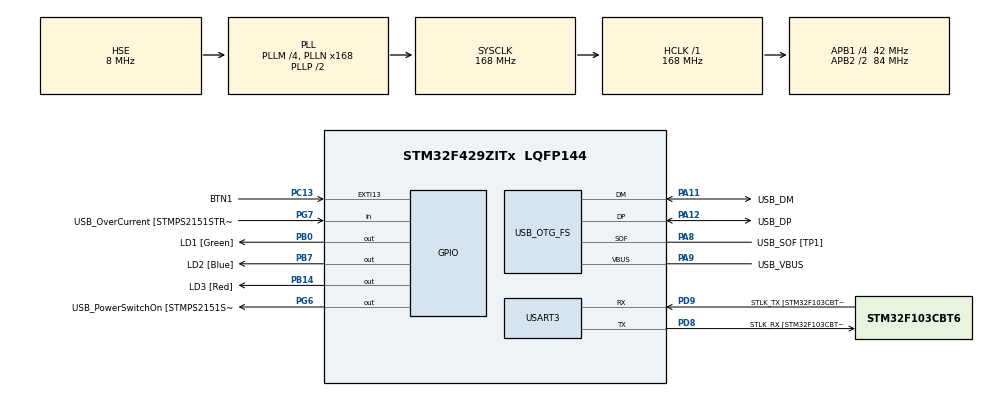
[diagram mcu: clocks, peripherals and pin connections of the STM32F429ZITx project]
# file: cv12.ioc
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Mcu.Family=STM32F4
Mcu.Name=STM32F429ZITx
Mcu.Package=LQFP144
NVIC.OTG_FS_IRQn=true\:0\:0\:false\:false\:true\:false\:true\:true
NVIC.PriorityGroup=NVIC_PRIORITYGROUP_4
PA1.GPIO_Label=RMII_REF_CLK [LAN8742A-CZ-TR_REFCLK0]
PA1.Signal=ETH_REF_CLK
PA10.GPIO_Label=USB_ID
PA10.Signal=USB_OTG_FS_ID
PA11.GPIO_Label=USB_DM
PA11.Mode=Device_Only
PA11.Signal=USB_OTG_FS_DM
PA12.GPIO_Label=USB_DP
PA12.Mode=Device_Only
PA12.Signal=USB_OTG_FS_DP
PA13.GPIO_Label=TMS
PA13.Mode=Serial_Wire
PA13.Signal=SYS_JTMS-SWDIO
PA14.GPIO_Label=TCK
PA14.Mode=Serial_Wire
PA14.Signal=SYS_JTCK-SWCLK
PA2.GPIO_Label=RMII_MDIO [LAN8742A-CZ-TR_MDIO]
PA2.Signal=ETH_MDIO
PA7.GPIO_Label=RMII_CRS_DV [LAN8742A-CZ-TR_CRS_DV]
PA7.Signal=ETH_CRS_DV
PA8.GPIO_Label=USB_SOF [TP1]
PA8.Mode=Activate_SOF_FS
PA8.Signal=USB_OTG_FS_SOF
PA9.GPIO_Label=USB_VBUS
PA9.Mode=Activate_VBUS
PA9.Signal=USB_OTG_FS_VBUS
PB0.GPIO_Label=LD1 [Green]
PB0.Signal=GPIO_Output
PB13.GPIO_Label=RMII_TXD1 [LAN8742A-CZ-TR_TXD1]
PB13.Signal=ETH_TXD1
PB14.GPIO_Label=LD3 [Red]
PB14.Signal=GPIO_Output
PB7.GPIO_Label=LD2 [Blue]
PB7.Signal=GPIO_Output
PC1.GPIO_Label=RMII_MDC [LAN8742A-CZ-TR_MDC]
PC1.Signal=ETH_MDC
PC13.GPIO_Label=BTN1
PC13.Signal=GPXTI13
PC14/OSC32_IN.Mode=LSE-External-Oscillator
PC14/OSC32_IN.Signal=RCC_OSC32_IN
PC15/OSC32_OUT.Mode=LSE-External-Oscillator
PC15/OSC32_OUT.Signal=RCC_OSC32_OUT
PC4.GPIO_Label=RMII_RXD0 [LAN8742A-CZ-TR_RXD0]
PC4.Signal=ETH_RXD0
PC5.GPIO_Label=RMII_RXD1 [LAN8742A-CZ-TR_RXD1]
PC5.Signal=ETH_RXD1
PD8.GPIO_Label=STLK_RX [STM32F103CBT6_PA3]
PD8.Mode=Asynchronous
PD8.Signal=USART3_TX
PD9.GPIO_Label=STLK_TX [STM32F103CBT6_PA2]
PD9.Mode=Asynchronous
PD9.Signal=USART3_RX
PG11.GPIO_Label=RMII_TX_EN [LAN8742A-CZ-TR_TXEN]
PG11.Signal=ETH_TX_EN
PG13.GPIO_Label=RMII_TXD0 [LAN8742A-CZ-TR_TXD0]
PG13.Signal=ETH_TXD0
PG6.GPIO_Label=USB_PowerSwitchOn [STMPS2151STR_EN]
PG6.Signal=GPIO_Output
PG7.GPIO_Label=USB_OverCurrent [STMPS2151STR_FAULT]
PG7.Signal=GPIO_Input
PH0/OSC_IN.GPIO_Label=MCO [STM32F103CBT6_PA8]
PH0/OSC_IN.Mode=HSE-External-Clock-Source
PH0/OSC_IN.Signal=RCC_OSC_IN
PH1/OSC_OUT.Mode=HSE-External-Clock-Source
PH1/OSC_OUT.Signal=RCC_OSC_OUT
ProjectManager.HeapSize=0x200
ProjectManager.StackSize=0x400
ProjectManager.TargetToolchain=STM32CubeIDE
RCC.48MHZClocksFreq_Value=48000000
RCC.AHBFreq_Value=168000000
RCC.APB1CLKDivider=RCC_HCLK_DIV4
RCC.APB1Freq_Value=42000000
RCC.APB1TimFreq_Value=84000000
RCC.APB2CLKDivider=RCC_HCLK_DIV2
RCC.APB2Freq_Value=84000000
RCC.APB2TimCLKDivider=2
RCC.APB2TimFreq_Value=168000000
RCC.CortexFreq_Value=168000000
RCC.HCLKFreq_Value=168000000
RCC.HSE_VALUE=8000000
RCC.HSI_VALUE=16000000
RCC.PLLM=4
RCC.PLLMUL=RCC_PLL_MUL9
RCC.PLLN=168
RCC.PLLQ=7
RCC.PRESCALERUSB=RCC_USBCLKSOURCE_PLL_DIV1_5
RCC.SYSCLKFreq_VALUE=168000000
RCC.SYSCLKSource=RCC_SYSCLKSOURCE_PLLCLK
RCC.SYSCLKSourceVirtual=RCC_SYSCLKSOURCE_PLLCLK
RCC.USBFreq_Value=48000000
RCC.VCOOutputFreq_Value=336000000
USART3.VirtualMode=VM_ASYNC
USB_DEVICE.CLASS_NAME_FS=HID
USB_DEVICE.VirtualMode-HID_FS=Hid
USB_DEVICE.VirtualModeFS=Hid_FS
USB_OTG_FS.VirtualMode=Device_Only
VP_USB_DEVICE_VS_USB_DEVICE_HID_FS.Mode=HID_FS
board=NUCLEO-F429ZI

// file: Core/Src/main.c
/* USER CODE BEGIN Header */
/**
  ******************************************************************************
  * @file           : main.c
  * @brief          : Main program body
  ******************************************************************************
  * @attention
  *
  * Copyright (c) 2024 STMicroelectronics.
  * All rights reserved.
  *
  * This software is licensed under terms that can be found in the LICENSE file
  * in the root directory of this software component.
  * If no LICENSE file comes with this software, it is provided AS-IS.
  *
  ******************************************************************************
  */
/* USER CODE END Header */
#include "main.h"
#include "usb_device.h"

/* USER CODE BEGIN Includes */
#include "usbd_hid.h"
#include <math.h>
/* USER CODE END Includes */

UART_HandleTypeDef huart3;

/* USER CODE BEGIN PV */
extern USBD_HandleTypeDef hUsbDeviceFS;

/* USER CODE END PV */

void SystemClock_Config(void);
static void MX_GPIO_Init(void);
static void MX_USART3_UART_Init(void);

/* USER CODE BEGIN 0 */
void step(int x, int y, uint8_t btn) //stejne jako boolean
{
	uint8_t buff[4];
	buff[0] = 0x02; //| btn; // stiskni leve tlacitko
	buff[1] = btn;
	buff[2] = (int8_t)(x); // posun X +10
	buff[3] = (int8_t)(y); // posun Y -3
	buff[4] = 0; // bez scrollu
	USBD_HID_SendReport(&hUsbDeviceFS, buff, sizeof(buff));
	HAL_Delay(2*USBD_HID_GetPollingInterval(&hUsbDeviceFS));
	//HAL_Delay(USBD_HID_GetPollingInterval(&hUsbDeviceFS));
}
void keyboard_press(uint8_t a, uint8_t b, uint8_t c)
{
	uint8_t buff[9];
	buff[0] =0x01; //keyboard
	buff[1]=0x00;	//control keys
	buff[2]=0x00; //padding
	buff[3]=0x0a;
	buff[4]=0x0b;
	buff[5]=0x0c;
	buff[6]=0;
	buff[7]=0;
	buff[8]=0;
	buff[9]=0;
	USBD_HID_SendReport(&hUsbDeviceFS, buff, sizeof(buff));
	HAL_Delay(10*USBD_HID_GetPollingInterval(&hUsbDeviceFS));
}

/*void draw_circle(float radius, int px, int py)
{
	int xx=px;
	int yy=py;

	float x=0;
	float y=0;

	for(int i=0; i<360;i++)
	{
		x=radius*cos(i*(M_PI/180));
		y=radius*sin(i*(M_PI/180));

		xx=xx-round(x);
		yy=yy-round(y);

		step(x, y, 0x01);
	}
	step(0,0,0);
}*/
void draw_circle(float radius, int px, int py)
{
    float x, y;

    for(int i = 0; i < 360; i++)
    {
        // Convert angle to radians
        float angle = i * (M_PI / 180); // i degrees converted to radians

        // Calculate x and y using the radius and angle
        x = radius * cos(angle);
        y = radius * sin(angle);

        // Call the drawing function with the correct circle points
        step(px + round(x), py + round(y), 0x01);
    }

    // Optional: to mark the center of the circle, use:
    //step(px, py, 0);
    step(0,0,0);
}
void draw_specCircle(float radius, int px, int py, int startAngle, int stopAngle)
{
    float x, y;

    for(int i = startAngle; i < stopAngle; i++)
    {
        // Convert angle to radians
        float angle = i * (M_PI / 180); // i degrees converted to radians

        // Calculate x and y using the radius and angle
        x = radius * cos(angle);
        y = radius * sin(angle);

        // Call the drawing function with the correct circle points
        step(px + round(x), py + round(y), 0x01);
    }

    // Optional: to mark the center of the circle, use:
    //step(px, py, 0);
    step(0,0,0);
}
void draw_line_vert(int len, int px, int py)
{
	int x = px;
	int y = py;

	for(int i=0; i<=len;i++)
	{
		step(x,y,1);
		y++;
	}
	step(0,0,0);
}
void draw_line(int px, int py)
{
	step(px,py,1);
}
void move(int px, int py)
{
	step(px,py,0);
}
/* USER CODE END 0 */

int main(void)
{

  /* MCU Configuration--------------------------------------------------------*/

  /* Reset of all peripherals, Initializes the Flash interface and the Systick. */
  HAL_Init();

  /* Configure the system clock */
  SystemClock_Config();

  /* Initialize all configured peripherals */
  MX_GPIO_Init();
  MX_USART3_UART_Init();
  MX_USB_DEVICE_Init();

  /* Infinite loop */
  /* USER CODE BEGIN WHILE */
  while (1)
  {
	  if(HAL_GPIO_ReadPin(BTN1_GPIO_Port, BTN1_Pin))
	  {

		  /*draw_circle(3,0,0);
		  move(0,35);
		 // draw_circle(6,0,0);
		  draw_line_vert(2,0,20);
		  move(-25,-40);
		  draw_circle(1,0,0);
		  move(+75,0);
		  draw_circle(1,0,0);
		  move(15,60); //nedavat ho sem ale do ostatnich funkci
		  draw_specCircle(2,0,0,90,270);//dodleat funkci circlu
		  HAL_Delay(1000);*/
		  keyboard_press(0x13,0x13,0x13);

	  }
	  keyboard_press(0x13,0x13,0x13);
    /* USER CODE END WHILE */

  }
}

void SystemClock_Config(void)
{
  RCC_OscInitTypeDef RCC_OscInitStruct = {0};
  RCC_ClkInitTypeDef RCC_ClkInitStruct = {0};

  /** Configure the main internal regulator output voltage
  */
  __HAL_RCC_PWR_CLK_ENABLE();
  __HAL_PWR_VOLTAGESCALING_CONFIG(PWR_REGULATOR_VOLTAGE_SCALE1);

  /** Initializes the RCC Oscillators according to the specified parameters
  * in the RCC_OscInitTypeDef structure.
  */
  RCC_OscInitStruct.OscillatorType = RCC_OSCILLATORTYPE_HSE;
  RCC_OscInitStruct.HSEState = RCC_HSE_BYPASS;
  RCC_OscInitStruct.PLL.PLLState = RCC_PLL_ON;
  RCC_OscInitStruct.PLL.PLLSource = RCC_PLLSOURCE_HSE;
  RCC_OscInitStruct.PLL.PLLM = 4;
  RCC_OscInitStruct.PLL.PLLN = 168;
  RCC_OscInitStruct.PLL.PLLP = RCC_PLLP_DIV2;
  RCC_OscInitStruct.PLL.PLLQ = 7;
  if (HAL_RCC_OscConfig(&RCC_OscInitStruct) != HAL_OK)
  {
    Error_Handler();
  }

  /** Initializes the CPU, AHB and APB buses clocks
  */
  RCC_ClkInitStruct.ClockType = RCC_CLOCKTYPE_HCLK|RCC_CLOCKTYPE_SYSCLK
                              |RCC_CLOCKTYPE_PCLK1|RCC_CLOCKTYPE_PCLK2;
  RCC_ClkInitStruct.SYSCLKSource = RCC_SYSCLKSOURCE_PLLCLK;
  RCC_ClkInitStruct.AHBCLKDivider = RCC_SYSCLK_DIV1;
  RCC_ClkInitStruct.APB1CLKDivider = RCC_HCLK_DIV4;
  RCC_ClkInitStruct.APB2CLKDivider = RCC_HCLK_DIV2;

  if (HAL_RCC_ClockConfig(&RCC_ClkInitStruct, FLASH_LATENCY_5) != HAL_OK)
  {
    Error_Handler();
  }
}

static void MX_USART3_UART_Init(void)
{

  huart3.Instance = USART3;
  huart3.Init.BaudRate = 115200;
  huart3.Init.WordLength = UART_WORDLENGTH_8B;
  huart3.Init.StopBits = UART_STOPBITS_1;
  huart3.Init.Parity = UART_PARITY_NONE;
  huart3.Init.Mode = UART_MODE_TX_RX;
  huart3.Init.HwFlowCtl = UART_HWCONTROL_NONE;
  huart3.Init.OverSampling = UART_OVERSAMPLING_16;
  if (HAL_UART_Init(&huart3) != HAL_OK)
  {
    Error_Handler();
  }

}

static void MX_GPIO_Init(void)
{
  GPIO_InitTypeDef GPIO_InitStruct = {0};

  /* GPIO Ports Clock Enable */
  __HAL_RCC_GPIOC_CLK_ENABLE();
  __HAL_RCC_GPIOH_CLK_ENABLE();
  __HAL_RCC_GPIOA_CLK_ENABLE();
  __HAL_RCC_GPIOB_CLK_ENABLE();
  __HAL_RCC_GPIOD_CLK_ENABLE();
  __HAL_RCC_GPIOG_CLK_ENABLE();

  /*Configure GPIO pin Output Level */
  HAL_GPIO_WritePin(GPIOB, LD1_Pin|LD3_Pin|LD2_Pin, GPIO_PIN_RESET);

  /*Configure GPIO pin Output Level */
  HAL_GPIO_WritePin(USB_PowerSwitchOn_GPIO_Port, USB_PowerSwitchOn_Pin, GPIO_PIN_RESET);

  /*Configure GPIO pin : BTN1_Pin */
  GPIO_InitStruct.Pin = BTN1_Pin;
  GPIO_InitStruct.Mode = GPIO_MODE_IT_RISING;
  GPIO_InitStruct.Pull = GPIO_NOPULL;
  HAL_GPIO_Init(BTN1_GPIO_Port, &GPIO_InitStruct);

  /*Configure GPIO pins : RMII_MDC_Pin RMII_RXD0_Pin RMII_RXD1_Pin */
  GPIO_InitStruct.Pin = RMII_MDC_Pin|RMII_RXD0_Pin|RMII_RXD1_Pin;
  GPIO_InitStruct.Mode = GPIO_MODE_AF_PP;
  GPIO_InitStruct.Pull = GPIO_NOPULL;
  GPIO_InitStruct.Speed = GPIO_SPEED_FREQ_VERY_HIGH;
  GPIO_InitStruct.Alternate = GPIO_AF11_ETH;
  HAL_GPIO_Init(GPIOC, &GPIO_InitStruct);

  /*Configure GPIO pins : RMII_REF_CLK_Pin RMII_MDIO_Pin RMII_CRS_DV_Pin */
  GPIO_InitStruct.Pin = RMII_REF_CLK_Pin|RMII_MDIO_Pin|RMII_CRS_DV_Pin;
  GPIO_InitStruct.Mode = GPIO_MODE_AF_PP;
  GPIO_InitStruct.Pull = GPIO_NOPULL;
  GPIO_InitStruct.Speed = GPIO_SPEED_FREQ_VERY_HIGH;
  GPIO_InitStruct.Alternate = GPIO_AF11_ETH;
  HAL_GPIO_Init(GPIOA, &GPIO_InitStruct);

  /*Configure GPIO pins : LD1_Pin LD3_Pin LD2_Pin */
  GPIO_InitStruct.Pin = LD1_Pin|LD3_Pin|LD2_Pin;
  GPIO_InitStruct.Mode = GPIO_MODE_OUTPUT_PP;
  GPIO_InitStruct.Pull = GPIO_NOPULL;
  GPIO_InitStruct.Speed = GPIO_SPEED_FREQ_LOW;
  HAL_GPIO_Init(GPIOB, &GPIO_InitStruct);

  /*Configure GPIO pin : RMII_TXD1_Pin */
  GPIO_InitStruct.Pin = RMII_TXD1_Pin;
  GPIO_InitStruct.Mode = GPIO_MODE_AF_PP;
  GPIO_InitStruct.Pull = GPIO_NOPULL;
  GPIO_InitStruct.Speed = GPIO_SPEED_FREQ_VERY_HIGH;
  GPIO_InitStruct.Alternate = GPIO_AF11_ETH;
  HAL_GPIO_Init(RMII_TXD1_GPIO_Port, &GPIO_InitStruct);

  /*Configure GPIO pin : USB_PowerSwitchOn_Pin */
  GPIO_InitStruct.Pin = USB_PowerSwitchOn_Pin;
  GPIO_InitStruct.Mode = GPIO_MODE_OUTPUT_PP;
  GPIO_InitStruct.Pull = GPIO_NOPULL;
  GPIO_InitStruct.Speed = GPIO_SPEED_FREQ_LOW;
  HAL_GPIO_Init(USB_PowerSwitchOn_GPIO_Port, &GPIO_InitStruct);

  /*Configure GPIO pin : USB_OverCurrent_Pin */
  GPIO_InitStruct.Pin = USB_OverCurrent_Pin;
  GPIO_InitStruct.Mode = GPIO_MODE_INPUT;
  GPIO_InitStruct.Pull = GPIO_NOPULL;
  HAL_GPIO_Init(USB_OverCurrent_GPIO_Port, &GPIO_InitStruct);

  /*Configure GPIO pins : RMII_TX_EN_Pin RMII_TXD0_Pin */
  GPIO_InitStruct.Pin = RMII_TX_EN_Pin|RMII_TXD0_Pin;
  GPIO_InitStruct.Mode = GPIO_MODE_AF_PP;
  GPIO_InitStruct.Pull = GPIO_NOPULL;
  GPIO_InitStruct.Speed = GPIO_SPEED_FREQ_VERY_HIGH;
  GPIO_InitStruct.Alternate = GPIO_AF11_ETH;
  HAL_GPIO_Init(GPIOG, &GPIO_InitStruct);

}

void Error_Handler(void)
{
  __disable_irq();
  while (1)
  {
  }
}
